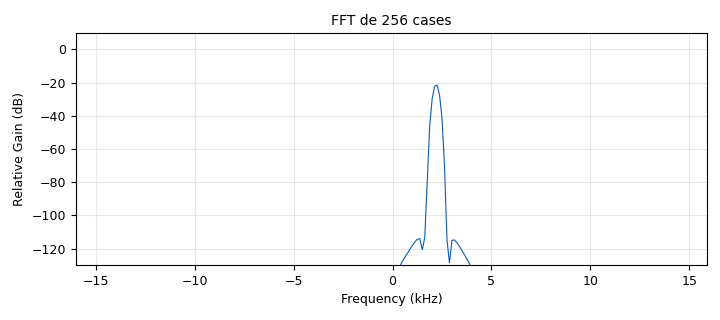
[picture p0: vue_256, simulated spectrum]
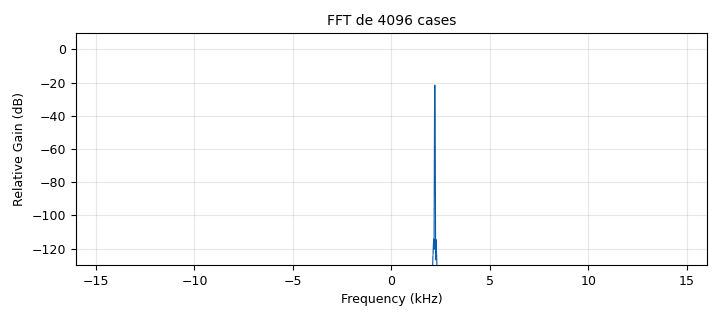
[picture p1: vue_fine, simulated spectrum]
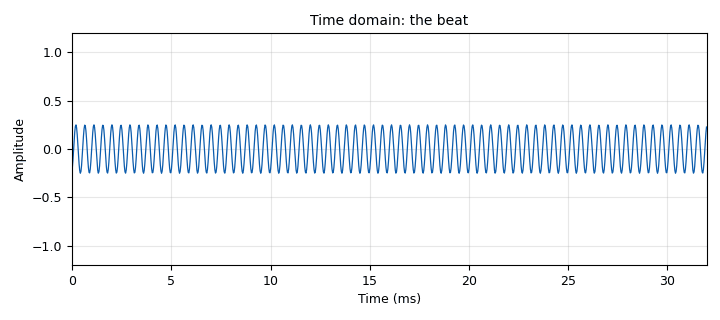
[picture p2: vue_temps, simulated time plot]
options:
  parameters:
    generate_options: qt_gui
    id: fg_tp03_002
    output_language: python
    title: FG-TP03-002
  states: {}

blocks:
- name: f1
  id: variable
  parameters:
    value: '1000'
  states: {}
- name: f2
  id: variable
  parameters:
    value: '1200'
  states: {}
- name: nb_cases
  id: variable
  parameters:
    value: '4096'
  states: {}
- name: samp_rate
  id: variable
  parameters:
    value: '32000'
  states: {}
- name: debit
  id: blocks_throttle2
  parameters:
    samples_per_second: samp_rate
    type: complex
  states: {}
- name: produit
  id: blocks_multiply_xx
  parameters:
    type: complex
  states: {}
- name: ton_1
  id: analog_sig_source_x
  parameters:
    amp: '0.5'
    freq: f1
    offset: '0'
    phase: '0'
    samp_rate: samp_rate
    type: complex
    waveform: analog.GR_COS_WAVE
  states: {}
- name: ton_2
  id: analog_sig_source_x
  parameters:
    amp: '0.5'
    freq: f2
    offset: '0'
    phase: '0'
    samp_rate: samp_rate
    type: complex
    waveform: analog.GR_COS_WAVE
  states: {}
- name: vers_reel
  id: blocks_complex_to_float
  parameters: {}
  states: {}
- name: vue_256
  id: qtgui_freq_sink_x
  parameters:
    average: '0.2'
    bw: samp_rate
    fc: '0'
    fftsize: '256'
    grid: 'True'
    gui_hint: 1,0,1,1
    legend: 'False'
    name: '"FFT de 256 cases"'
    type: complex
    ymin: '-130'
  states: {}
- name: vue_fine
  id: qtgui_freq_sink_x
  parameters:
    average: '0.2'
    bw: samp_rate
    fc: '0'
    fftsize: nb_cases
    grid: 'True'
    gui_hint: 2,0,1,1
    legend: 'False'
    name: '"FFT de 4096 cases"'
    type: complex
    ymin: '-130'
  states: {}
- name: vue_temps
  id: qtgui_time_sink_x
  parameters:
    entags: 'False'
    grid: 'True'
    gui_hint: 0,0,1,1
    legend: 'False'
    name: '"Time domain: the beat"'
    size: '1024'
    srate: samp_rate
    type: float
    ymax: '1.2'
    ymin: '-1.2'
  states: {}

connections:
- [debit, '0', vers_reel, '0']
- [debit, '0', vue_256, '0']
- [debit, '0', vue_fine, '0']
- [produit, '0', debit, '0']
- [ton_1, '0', produit, '0']
- [ton_2, '0', produit, '1']
- [vers_reel, '0', vue_temps, '0']

metadata:
  file_format: 1
  grc_version: 3.10.12.0
